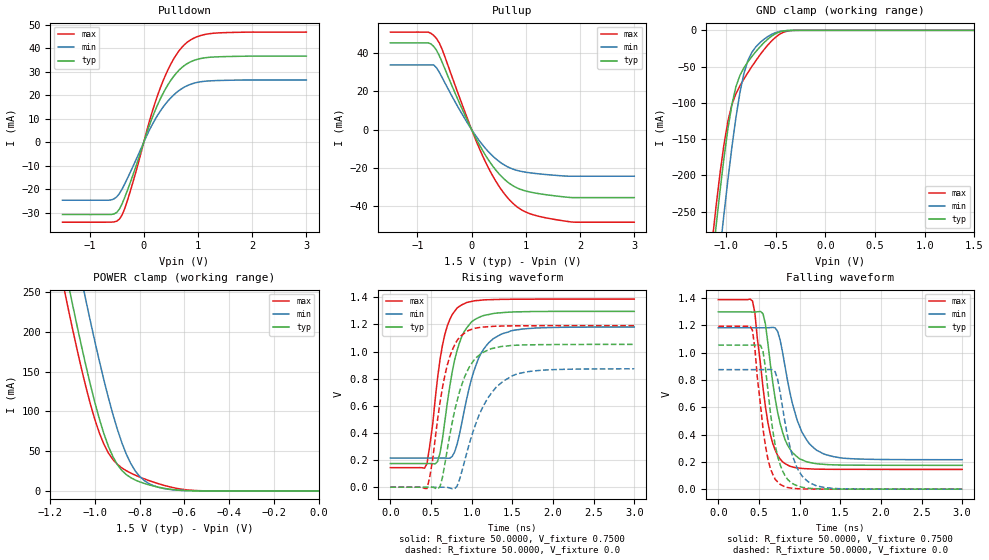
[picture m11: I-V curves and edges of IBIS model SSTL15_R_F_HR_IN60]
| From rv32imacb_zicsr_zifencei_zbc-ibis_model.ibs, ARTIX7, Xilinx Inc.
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[Model]  SSTL15_R_F_HR_IN60
Model_type I/O
Polarity   Non-Inverting
Enable   Active-Low
Vinl = 0.65
Vinh = 0.85
Vmeas =  0.7500V
Cref =   0.0F
Rref =   50.0000
Vref =   0.7500V
C_comp   7.6900pF   7.5200pF   7.7300pF
[Model Spec]
Vinl   0.65   0.6125   0.6875
Vinh   0.85   0.8125   0.8875
[Temperature Range]   25.0000   85.0000   0.0
[Voltage Range]   1.5000V   1.4250V   1.5750V
[Add Submodel]
| Submodel Name   Mode
IN60_1V5   Non-Driving
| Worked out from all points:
|   slope of the pulldown table from 0 to 0.225 V, typ, clamps not added: 15.7 ohm
|   slope of the pullup table from 0 to 0.225 V, typ, clamps not added: 18.8 ohm
|   GND clamp passes 1 mA (typ) near -0.42 V on its own axis
|   POWER clamp passes 1 mA (typ) near -0.63 V on its own axis
|   rising waveform, R_fixture 50.0000, V_fixture 0.7500: 20-80 % time 204ps typ, 261ps min, 171ps max; typ from 0.174 V to 1.3 V
|   rising waveform, R_fixture 50.0000, V_fixture 0.0: 20-80 % time 255ps typ, 345ps min, 198ps max; typ from 0 V to 1.05 V
|   falling waveform, R_fixture 50.0000, V_fixture 0.7500: 20-80 % time 191ps typ, 243ps min, 169ps max; typ from 1.3 V to 0.175 V
|   falling waveform, R_fixture 50.0000, V_fixture 0.0: 20-80 % time 156ps typ, 194ps min, 144ps max; typ from 1.05 V to 0 V
[Pulldown]
|Voltage   I(typ)   I(min)   I(max)
-1.5V     -30.79mA   -24.69mA   -34.04mA
-650mV    -30.79mA   -24.69mA   -34.03mA
-450mV    -28.49mA   -21.86mA   -32.77mA
-400mV    -26.24mA   -19.93mA   -30.98mA
-300mV    -20.38mA   -15.29mA   -24.68mA
100mV     6.928mA    4.99mA     8.617mA
300mV     18.22mA    13.09mA    22.83mA
550mV     28mA       20.09mA    35.42mA
800mV     33.47mA    24.08mA    42.56mA
1V        35.39mA    25.56mA    45.08mA
1.3V      36.32mA    26.23mA    46.45mA
3V        36.68mA    26.52mA    46.92mA
[Pullup]
|Voltage   I(typ)   I(min)   I(max)
-1.5V     45.36mA    33.83mA    50.99mA
-800mV    45.36mA    33.83mA    50.97mA
-700mV    43.5mA     33.82mA    49.23mA
-650mV    41.54mA    32.38mA    47.69mA
-550mV    35.58mA    27.52mA    42.29mA
-150mV    9.123mA    6.85mA     11.19mA
200mV     -10.79mA   -7.908mA   -13.54mA
550mV     -24.42mA   -17.49mA   -31.45mA
850mV     -30.57mA   -21.36mA   -40.57mA
1.2V      -33.22mA   -22.94mA   -44.96mA
1.85V     -35.47mA   -24.3mA    -48.22mA
3V        -35.47mA   -24.3mA    -48.31mA
[GND_clamp]
|Voltage   I(typ)   I(min)   I(max)
-1.5V     -843mA     -931.9mA   -809.3mA
-1.14V    -322.4mA   -408.3mA   -292.6mA
-1.1V     -270.7mA   -354.9mA   -243mA
-1.06V    -221.4mA   -303.2mA   -197.2mA
-1.02V    -175.8mA   -253.2mA   -157.1mA
-940mV    -102mA     -160.6mA   -102.2mA
-900mV    -77.8mA    -120.3mA   -87.39mA
-820mV    -51.79mA   -59.71mA   -67.23mA
-740mV    -36.2mA    -30.4mA    -50.04mA
-580mV    -12.24mA   -8.697mA   -20.45mA
-340mV    -90.8uA    -98.11uA   -316.7uA
1.5V      8.081nA    94.74nA    7.031nA
[POWER_clamp]
|Voltage   I(typ)   I(min)   I(max)
-1.5V     827.8mA    915mA      794.3mA
-1.14V    289.1mA    376.9mA    257mA
-1.12V    261.4mA    348.5mA    229.8mA
-1.1V     234.2mA    320.5mA    203.4mA
-1.04V    156.9mA    239mA      130.2mA
-980mV    90.26mA    163mA      72.57mA
-940mV    56.11mA    117.3mA    47.74mA
-900mV    33.23mA    77.6mA     33.5mA
-840mV    16.69mA    34.5mA     22.47mA
-780mV    9.474mA    13.13mA    15.27mA
-680mV    2.78mA     2.426mA    6.171mA
0V        8.081nA    81.45nA    8.517nA
[Ramp]
| variable   typ   min   max
dV/dt_r  0.6318/0.2546n   0.5238/0.3448n   0.7146/0.1982n
dV/dt_f  0.6664/0.2443n   0.5603/0.3122n   0.7448/0.1993n
R_load = 50.0000
[Rising Waveform]
R_fixture= 50.0000
V_fixture= 0.7500
V_fixture_min= 0.7125
V_fixture_max= 0.7875
|time   V(typ)   V(min)   V(max)
0s        174.4mV    215.1mV    144.4mV
450ps     174.3mV    215.1mV    173.4mV
580ps     188.9mV    215.1mV    803.8mV
640ps     354.2mV    215.2mV    1.045V
760ps     848.5mV    226.6mV    1.272V
850ps     1.065V     390.9mV    1.334V
1.03ns    1.233V     861.2mV    1.374V
1.27ns    1.281V     1.097V     1.383V
1.7ns     1.294V     1.17V      1.386V
3ns       1.296V     1.181V     1.387V
[Rising Waveform]
R_fixture= 50.0000
V_fixture= 0.0
|time   V(typ)   V(min)   V(max)
0s        0V         0V         0V
450ps     -22.41uV   7.356uV    -10.09mV
520ps     -137.9uV   6.368uV    200.6mV
610ps     4.072mV    -12.36uV   622.6mV
700ps     278.8mV    -659.3uV   900.5mV
820ps     634.8mV    8.135mV    1.081V
940ps     848.1mV    253.9mV    1.149V
1.18ns    1.005V     637.7mV    1.182V
1.48ns    1.044V     816.5mV    1.189V
3ns       1.053V     873mV      1.191V
[Falling Waveform]
R_fixture= 50.0000
V_fixture= 0.7500
V_fixture_min= 0.7125
V_fixture_max= 0.7875
|time   V(typ)   V(min)   V(max)
0s        1.297V     1.181V     1.387V
420ps     1.296V     1.181V     1.378V
450ps     1.296V     1.181V     1.29V
550ps     1.284V     1.181V     741.7mV
670ps     779.6mV    1.184V     333.8mV
730ps     561.3mV    1.154V     246.9mV
820ps     363.9mV    900.8mV    187.7mV
970ps     236.3mV    504.8mV    155.7mV
1.21ns    185.9mV    284.5mV    146.5mV
3ns       174.6mV    215.6mV    144.5mV
[Falling Waveform]
R_fixture= 50.0000
V_fixture= 0.0
|time   V(typ)   V(min)   V(max)
0s        1.054V     874.7mV    1.192V
420ps     1.054V     874.7mV    1.162V
520ps     1.053V     874.7mV    611.7mV
580ps     887.4mV    874.7mV    316.3mV
670ps     429.5mV    874.4mV    109.7mV
760ps     180.1mV    709.7mV    35.51mV
850ps     72.95mV    394mV      12.64mV
910ps     42.3mV     248.4mV    6.381mV
1.12ns    6.116mV    47.59mV    1.149mV
3ns       112uV      203.6uV    82.29uV
